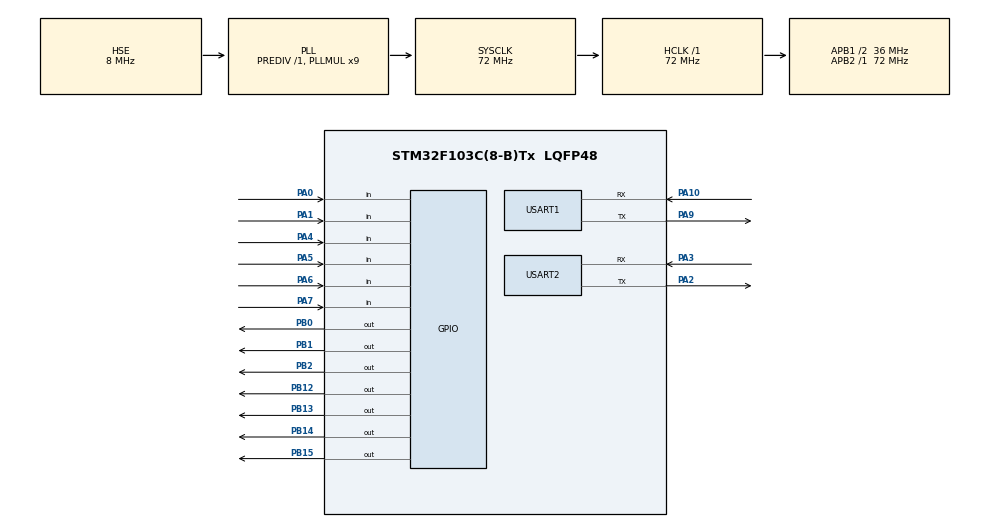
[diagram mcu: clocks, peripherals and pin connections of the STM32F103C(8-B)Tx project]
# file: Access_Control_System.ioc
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Mcu.Family=STM32F1
Mcu.Name=STM32F103C(8-B)Tx
Mcu.Package=LQFP48
NVIC.PriorityGroup=NVIC_PRIORITYGROUP_2
NVIC.TIM2_IRQn=true\:1\:1\:true\:false\:true
NVIC.USART1_IRQn=true\:0\:0\:true\:false\:true
NVIC.USART2_IRQn=true\:1\:0\:true\:false\:true
PA0-WKUP.Signal=GPIO_Input
PA1.Signal=GPIO_Input
PA10.Mode=Asynchronous
PA10.Signal=USART1_RX
PA2.Mode=Asynchronous
PA2.Signal=USART2_TX
PA3.Mode=Asynchronous
PA3.Signal=USART2_RX
PA4.Signal=GPIO_Input
PA5.Signal=GPIO_Input
PA6.Signal=GPIO_Input
PA7.Signal=GPIO_Input
PA9.Mode=Asynchronous
PA9.Signal=USART1_TX
PB0.Signal=GPIO_Output
PB1.Signal=GPIO_Output
PB12.Signal=GPIO_Output
PB13.Signal=GPIO_Output
PB14.Signal=GPIO_Output
PB15.Signal=GPIO_Output
PB2.Signal=GPIO_Output
PD0-OSC_IN.Mode=HSE-External-Oscillator
PD0-OSC_IN.Signal=RCC_OSC_IN
PD1-OSC_OUT.Mode=HSE-External-Oscillator
PD1-OSC_OUT.Signal=RCC_OSC_OUT
ProjectManager.HeapSize=0x200
ProjectManager.StackSize=0x400
ProjectManager.TargetToolchain=MDK-ARM V5
RCC.AHBFreq_Value=72000000
RCC.APB1CLKDivider=RCC_HCLK_DIV2
RCC.APB1Freq_Value=36000000
RCC.APB1TimFreq_Value=72000000
RCC.APB2Freq_Value=72000000
RCC.APB2TimFreq_Value=72000000
RCC.HCLKFreq_Value=72000000
RCC.PLLMUL=RCC_PLL_MUL9
RCC.PLLSourceVirtual=RCC_PLLSOURCE_HSE
RCC.SYSCLKFreq_VALUE=72000000
RCC.SYSCLKSource=RCC_SYSCLKSOURCE_PLLCLK
RCC.USBFreq_Value=72000000
TIM2.Period=1
TIM2.Prescaler=71
USART1.VirtualMode=VM_ASYNC
USART2.VirtualMode=VM_ASYNC
VP_IWDG_VS_IWDG.Mode=IWDG_Activate
VP_SYS_VS_ND.Mode=No_Debug
VP_TIM2_VS_ClockSourceINT.Mode=Internal
board=Access_Control_System

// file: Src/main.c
/**
  ******************************************************************************
  * File Name          : main.c
  * Description        : Main program body
  ******************************************************************************
  *
  * COPYRIGHT(c) 2017 STMicroelectronics
  *
  * Redistribution and use in source and binary forms, with or without modification,
  * are permitted provided that the following conditions are met:
  *   1. Redistributions of source code must retain the above copyright notice,
  *      this list of conditions and the following disclaimer.
  *   2. Redistributions in binary form must reproduce the above copyright notice,
  *      this list of conditions and the following disclaimer in the documentation
  *      and/or other materials provided with the distribution.
  *   3. Neither the name of STMicroelectronics nor the names of its contributors
  *      may be used to endorse or promote products derived from this software
  *      without specific prior written permission.
  *
  * THIS SOFTWARE IS PROVIDED BY THE COPYRIGHT HOLDERS AND CONTRIBUTORS "AS IS"
  * AND ANY EXPRESS OR IMPLIED WARRANTIES, INCLUDING, BUT NOT LIMITED TO, THE
  * IMPLIED WARRANTIES OF MERCHANTABILITY AND FITNESS FOR A PARTICULAR PURPOSE ARE
  * DISCLAIMED. IN NO EVENT SHALL THE COPYRIGHT HOLDER OR CONTRIBUTORS BE LIABLE
  * FOR ANY DIRECT, INDIRECT, INCIDENTAL, SPECIAL, EXEMPLARY, OR CONSEQUENTIAL
  * DAMAGES (INCLUDING, BUT NOT LIMITED TO, PROCUREMENT OF SUBSTITUTE GOODS OR
  * SERVICES; LOSS OF USE, DATA, OR PROFITS; OR BUSINESS INTERRUPTION) HOWEVER
  * CAUSED AND ON ANY THEORY OF LIABILITY, WHETHER IN CONTRACT, STRICT LIABILITY,
  * OR TORT (INCLUDING NEGLIGENCE OR OTHERWISE) ARISING IN ANY WAY OUT OF THE USE
  * OF THIS SOFTWARE, EVEN IF ADVISED OF THE POSSIBILITY OF SUCH DAMAGE.
  *
  ******************************************************************************
  */
#include "main.h"
#include "stm32f1xx_hal.h"

/* USER CODE BEGIN Includes */
#include "OLED.h"
#include "string.h"
#define Buffersize 1
#define FLASH_USER_START_ADDR   ADDR_FLASH_PAGE_120   /* Start @ of user Flash area */
#define FLASH_USER_END_ADDR     ADDR_FLASH_PAGE_127 + FLASH_PAGE_SIZE   /* End @ of user Flash area */

#define DATA_32                 ((uint32_t)0x12345678)
/*Variable used for Erase procedure*/
static FLASH_EraseInitTypeDef EraseInitStruct;
uint32_t Address = 0, PAGEError = 0;
__IO uint32_t data32 = 0 , MemoryProgramStatus = 0;
#if 1
#pragma import(__use_no_semihosting)
//Standard library required support function
struct __FILE
{
	int handle;
};

FILE __stdout;
// define _sys_exit()
void _sys_exit(int x)
{
	x = x;
}
//redifine fputc()
int fputc(int ch, FILE *f)
{
	while((USART1->SR&0X40)==0);//Loop send
	USART1->DR = (unsigned char ) ch;
	return ch;
}
#endif
/* USER CODE END Includes */

IWDG_HandleTypeDef hiwdg;

TIM_HandleTypeDef htim2;

UART_HandleTypeDef huart1;
UART_HandleTypeDef huart2;

/* USER CODE BEGIN PV */
/* Private variables ---------------------------------------------------------*/
unsigned char string[] = "OK";
uint8_t Uart1_RxBuffer[Buffersize];
uint8_t Uart2_RxBuffer[Buffersize];  //uart recieve buff
uint8_t rec_flag1 = 0;
uint8_t rec_flag2 = 0;
uint8_t rec_flag3 = 0;
uint8_t rec_cnt = 0;
uint8_t rec_buff[20] ={0};
uint32_t ms_flag = 0;
/* USER CODE END PV */

void SystemClock_Config(void);
void Error_Handler(void);
static void MX_GPIO_Init(void);
static void MX_USART1_UART_Init(void);
static void MX_USART2_UART_Init(void);
static void MX_TIM2_Init(void);
static void MX_IWDG_Init(void);

/* USER CODE BEGIN PFP */
/* Private function prototypes -----------------------------------------------*/
void IWDG_Feed(void);
/* USER CODE END PFP */

int main(void)
{

  /* MCU Configuration----------------------------------------------------------*/

  /* Reset of all peripherals, Initializes the Flash interface and the Systick. */
  HAL_Init();

  /* Configure the system clock */
  SystemClock_Config();

  /* Initialize all configured peripherals */
  MX_GPIO_Init();
  MX_USART1_UART_Init();
  MX_USART2_UART_Init();
  MX_TIM2_Init();

  /* USER CODE BEGIN 2 */
	OLED_Init();
	Draw_LibLogo();
  /* enable recieve  */
  HAL_UART_Receive_IT(&huart1,Uart1_RxBuffer,1);
  HAL_UART_Receive_IT(&huart2,Uart2_RxBuffer,1);
	HAL_TIM_Base_Start_IT(&htim2);
	printf("B\n");
	HAL_Delay(100);
	printf("A\n");
	HAL_Delay(100);
	/* Unlock the Flash to enable the flash control register access *************/
  HAL_FLASH_Unlock();
  /* Erase the user Flash area
    (area defined by FLASH_USER_START_ADDR and FLASH_USER_END_ADDR) ***********/

  /* Fill EraseInit structure*/
  EraseInitStruct.TypeErase   = FLASH_TYPEERASE_PAGES;
  EraseInitStruct.PageAddress = FLASH_USER_START_ADDR;
  EraseInitStruct.NbPages     = (FLASH_USER_END_ADDR - FLASH_USER_START_ADDR) / FLASH_PAGE_SIZE;
	  if (HAL_FLASHEx_Erase(&EraseInitStruct, &PAGEError) != HAL_OK)
  {
    /*
      Error occurred while page erase.
      User can add here some code to deal with this error.
      PAGEError will contain the faulty page and then to know the code error on this page,
      user can call function 'HAL_FLASH_GetError()'
    */
    /* Infinite loop */
  }
	Address = FLASH_USER_START_ADDR;
	while (Address < FLASH_USER_END_ADDR)
  {
    if (HAL_FLASH_Program(FLASH_TYPEPROGRAM_WORD, Address, DATA_32) == HAL_OK)
    {
      Address = Address + 4;
    }
    else
    {
      /* Error occurred while writing data in Flash memory.
         User can add here some code to deal with this error */
    }
  }
	/* Lock the Flash to disable the flash control register access (recommended
     to protect the FLASH memory against possible unwanted operation) *********/
  HAL_FLASH_Lock();
	/* Check if the programmed data is OK
      MemoryProgramStatus = 0: data programmed correctly
      MemoryProgramStatus != 0: number of words not programmed correctly ******/
  Address = FLASH_USER_START_ADDR;
  MemoryProgramStatus = 0x0;

  while (Address < FLASH_USER_END_ADDR)
  {
    data32 = *(__IO uint32_t *)Address;

    if (data32 != DATA_32)
    {
      MemoryProgramStatus++;
    }
    Address = Address + 4;
  }

  /*Check if there is an issue to program data*/
  if (MemoryProgramStatus == 0)
  {
			HAL_UART_Transmit(&huart2,string,strlen((char *)string),1000);
    /* No error detected. Switch on LED2*/
  }
  else
  {
    /* Error detected. LED2 will blink with 1s period */
  }

  MX_IWDG_Init();
  /* USER CODE END 2 */

  /* Infinite loop */
  while (1)
  {

  /* USER CODE BEGIN 3 */
  // HAL_UART_Transmit(&huart1,string,strlen((char *)string),1000);
	//	printf("hello\n");
	//	HAL_Delay(100);
		if(ms_flag>=1000)
		{
			IWDG_Feed();
			ms_flag = 0 ;
		}
  }
  /* USER CODE END 3 */

}

/** System Clock Configuration
*/
void SystemClock_Config(void)
{

  RCC_OscInitTypeDef RCC_OscInitStruct;
  RCC_ClkInitTypeDef RCC_ClkInitStruct;

    /**Initializes the CPU, AHB and APB busses clocks
    */
  RCC_OscInitStruct.OscillatorType = RCC_OSCILLATORTYPE_LSI|RCC_OSCILLATORTYPE_HSE;
  RCC_OscInitStruct.HSEState = RCC_HSE_ON;
  RCC_OscInitStruct.HSEPredivValue = RCC_HSE_PREDIV_DIV1;
  RCC_OscInitStruct.HSIState = RCC_HSI_ON;
  RCC_OscInitStruct.LSIState = RCC_LSI_ON;
  RCC_OscInitStruct.PLL.PLLState = RCC_PLL_ON;
  RCC_OscInitStruct.PLL.PLLSource = RCC_PLLSOURCE_HSE;
  RCC_OscInitStruct.PLL.PLLMUL = RCC_PLL_MUL9;
  if (HAL_RCC_OscConfig(&RCC_OscInitStruct) != HAL_OK)
  {
    Error_Handler();
  }

    /**Initializes the CPU, AHB and APB busses clocks
    */
  RCC_ClkInitStruct.ClockType = RCC_CLOCKTYPE_HCLK|RCC_CLOCKTYPE_SYSCLK
                              |RCC_CLOCKTYPE_PCLK1|RCC_CLOCKTYPE_PCLK2;
  RCC_ClkInitStruct.SYSCLKSource = RCC_SYSCLKSOURCE_PLLCLK;
  RCC_ClkInitStruct.AHBCLKDivider = RCC_SYSCLK_DIV1;
  RCC_ClkInitStruct.APB1CLKDivider = RCC_HCLK_DIV2;
  RCC_ClkInitStruct.APB2CLKDivider = RCC_HCLK_DIV1;

  if (HAL_RCC_ClockConfig(&RCC_ClkInitStruct, FLASH_LATENCY_2) != HAL_OK)
  {
    Error_Handler();
  }

    /**Configure the Systick interrupt time
    */
  HAL_SYSTICK_Config(HAL_RCC_GetHCLKFreq()/1000);

    /**Configure the Systick
    */
  HAL_SYSTICK_CLKSourceConfig(SYSTICK_CLKSOURCE_HCLK);

  /* SysTick_IRQn interrupt configuration */
  HAL_NVIC_SetPriority(SysTick_IRQn, 0, 0);
}

/* IWDG init function */
static void MX_IWDG_Init(void)
{

  hiwdg.Instance = IWDG;
  hiwdg.Init.Prescaler = IWDG_PRESCALER_4;
  hiwdg.Init.Reload = 4095;
  if (HAL_IWDG_Init(&hiwdg) != HAL_OK)
  {
    Error_Handler();
  }

}

/* TIM2 init function */
static void MX_TIM2_Init(void)
{

  TIM_ClockConfigTypeDef sClockSourceConfig;
  TIM_MasterConfigTypeDef sMasterConfig;

  htim2.Instance = TIM2;
  htim2.Init.Prescaler = 71;
  htim2.Init.CounterMode = TIM_COUNTERMODE_UP;
  htim2.Init.Period = 1;
  htim2.Init.ClockDivision = TIM_CLOCKDIVISION_DIV1;
  if (HAL_TIM_Base_Init(&htim2) != HAL_OK)
  {
    Error_Handler();
  }

  sClockSourceConfig.ClockSource = TIM_CLOCKSOURCE_INTERNAL;
  if (HAL_TIM_ConfigClockSource(&htim2, &sClockSourceConfig) != HAL_OK)
  {
    Error_Handler();
  }

  sMasterConfig.MasterOutputTrigger = TIM_TRGO_RESET;
  sMasterConfig.MasterSlaveMode = TIM_MASTERSLAVEMODE_DISABLE;
  if (HAL_TIMEx_MasterConfigSynchronization(&htim2, &sMasterConfig) != HAL_OK)
  {
    Error_Handler();
  }

}

/* USART1 init function */
static void MX_USART1_UART_Init(void)
{

  huart1.Instance = USART1;
  huart1.Init.BaudRate = 115200;
  huart1.Init.WordLength = UART_WORDLENGTH_8B;
  huart1.Init.StopBits = UART_STOPBITS_1;
  huart1.Init.Parity = UART_PARITY_NONE;
  huart1.Init.Mode = UART_MODE_TX_RX;
  huart1.Init.HwFlowCtl = UART_HWCONTROL_NONE;
  huart1.Init.OverSampling = UART_OVERSAMPLING_16;
  if (HAL_UART_Init(&huart1) != HAL_OK)
  {
    Error_Handler();
  }

}

/* USART2 init function */
static void MX_USART2_UART_Init(void)
{

  huart2.Instance = USART2;
  huart2.Init.BaudRate = 115200;
  huart2.Init.WordLength = UART_WORDLENGTH_8B;
  huart2.Init.StopBits = UART_STOPBITS_1;
  huart2.Init.Parity = UART_PARITY_NONE;
  huart2.Init.Mode = UART_MODE_TX_RX;
  huart2.Init.HwFlowCtl = UART_HWCONTROL_NONE;
  huart2.Init.OverSampling = UART_OVERSAMPLING_16;
  if (HAL_UART_Init(&huart2) != HAL_OK)
  {
    Error_Handler();
  }

}

/** Configure pins as
        * Analog
        * Input
        * Output
        * EVENT_OUT
        * EXTI
*/
static void MX_GPIO_Init(void)
{

  GPIO_InitTypeDef GPIO_InitStruct;

  /* GPIO Ports Clock Enable */
  __HAL_RCC_GPIOD_CLK_ENABLE();
  __HAL_RCC_GPIOA_CLK_ENABLE();
  __HAL_RCC_GPIOB_CLK_ENABLE();

  /*Configure GPIO pin Output Level */
  HAL_GPIO_WritePin(GPIOB, GPIO_PIN_0|GPIO_PIN_1|GPIO_PIN_2|GPIO_PIN_12
                          |GPIO_PIN_13|GPIO_PIN_14|GPIO_PIN_15, GPIO_PIN_RESET);

  /*Configure GPIO pins : PA0 PA1 PA4 PA5
                           PA6 PA7 */
  GPIO_InitStruct.Pin = GPIO_PIN_0|GPIO_PIN_1|GPIO_PIN_4|GPIO_PIN_5
                          |GPIO_PIN_6|GPIO_PIN_7;
  GPIO_InitStruct.Mode = GPIO_MODE_INPUT;
  GPIO_InitStruct.Pull = GPIO_NOPULL;
  HAL_GPIO_Init(GPIOA, &GPIO_InitStruct);

  /*Configure GPIO pins : PB0 PB1 PB2 PB12
                           PB13 PB14 PB15 */
  GPIO_InitStruct.Pin = GPIO_PIN_0|GPIO_PIN_1|GPIO_PIN_2|GPIO_PIN_12
                          |GPIO_PIN_13|GPIO_PIN_14|GPIO_PIN_15;
  GPIO_InitStruct.Mode = GPIO_MODE_OUTPUT_PP;
  GPIO_InitStruct.Speed = GPIO_SPEED_FREQ_LOW;
  HAL_GPIO_Init(GPIOB, &GPIO_InitStruct);

}

/* USER CODE BEGIN 4 */
/*
uart callback function   can be redifined  should not be modified
*/
void HAL_UART_RxCpltCallback(UART_HandleTypeDef *huart)
{
	if(huart == &huart1)
	{
		if(rec_flag2 == 0)
		{
				if(rec_flag1 == 0)
				{
					if(Uart1_RxBuffer[0]=='I')
					{
					rec_flag1 = 1;
					}
				}
				if(rec_flag1 == 1)
				{
						if(Uart1_RxBuffer[0]=='D')
					{
						  rec_cnt = 0;
						  rec_flag1 = 0;
							rec_flag2 = 1;
					}
				}
		}
		else
		{
			rec_buff[rec_cnt] = Uart1_RxBuffer[0] ;
			rec_cnt++;
			if(rec_cnt>=13)
			{
				rec_flag2 = 0;
				rec_buff[0] = '!';
				rec_buff[1] = '@';
				rec_buff[2] = '#';
				rec_buff[rec_cnt] ='\n';
				rec_buff[++rec_cnt] = '\0';
				HAL_UART_Transmit(&huart2,rec_buff,strlen((char *)rec_buff),1000);
			}
		}
		HAL_UART_Receive_IT(&huart1,Uart1_RxBuffer,1);
	}
		if(huart == &huart2)
	{
//		HAL_UART_Transmit(&huart2,Uart2_RxBuffer,strlen((char *)Uart2_RxBuffer),1000);
//		HAL_UART_Receive_IT(&huart2,Uart2_RxBuffer,1);
	}
}
void HAL_TIM_PeriodElapsedCallback(TIM_HandleTypeDef *htim)
{
  if(htim == &htim2)
	{
		ms_flag++;
	}
}

void IWDG_Feed(void)
{
	 HAL_IWDG_Refresh(&hiwdg);
}
/* USER CODE END 4 */

void Error_Handler(void)
{
  /* USER CODE BEGIN Error_Handler */
  /* User can add his own implementation to report the HAL error return state */
  while(1)
  {
		unsigned char error_s[] = "error!";
		printf("error!");
		HAL_UART_Transmit(&huart2,error_s,strlen((char *)error_s),1000);
  }
  /* USER CODE END Error_Handler */
}

#ifdef USE_FULL_ASSERT

/**
   * @brief Reports the name of the source file and the source line number
   * where the assert_param error has occurred.
   * @param file: pointer to the source file name
   * @param line: assert_param error line source number
   * @retval None
   */
void assert_failed(uint8_t* file, uint32_t line)
{
  /* USER CODE BEGIN 6 */
	printf("Wrong parameters value: file %s on line %d\r\n", file, line) */
  /* User can add his own implementation to report the file name and line number,
    ex: printf("Wrong parameters value: file %s on line %d\r\n", file, line) */
  /* USER CODE END 6 */

}

#endif

/************************ (C) COPYRIGHT STMicroelectronics *****END OF FILE****/
